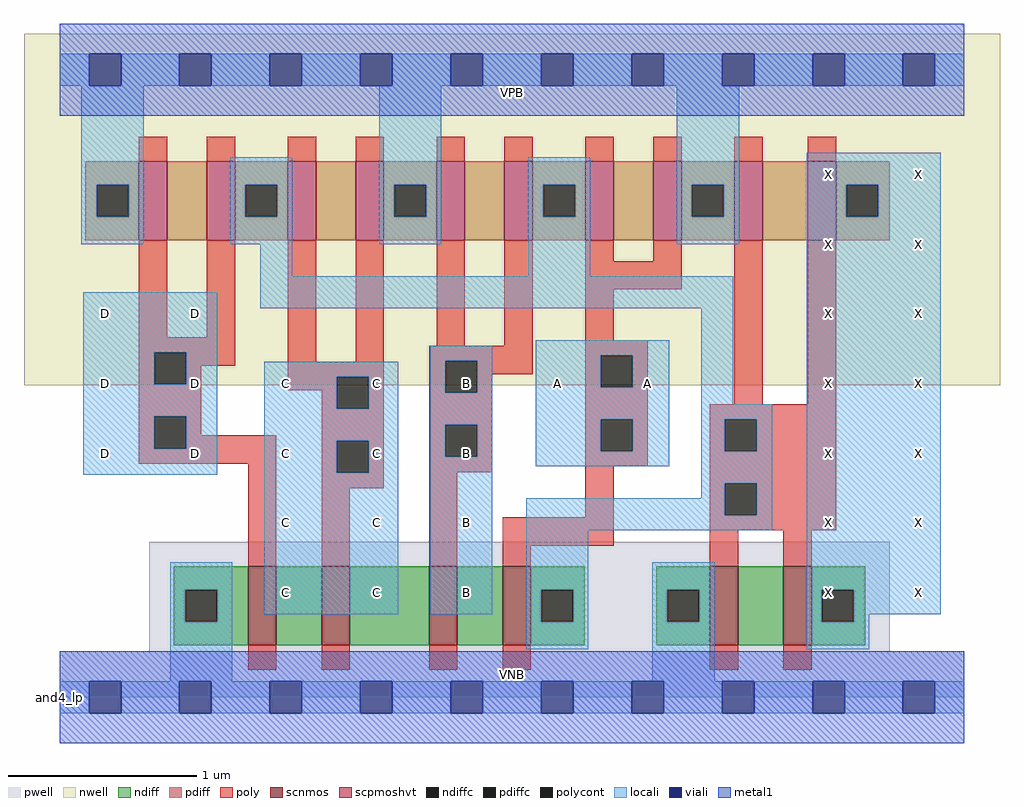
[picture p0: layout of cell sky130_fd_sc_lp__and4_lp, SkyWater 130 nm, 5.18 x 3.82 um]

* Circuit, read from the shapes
.subckt sky130_fd_sc_lp__and4_lp A B C D VGND VNB VPB VPWR X
XM1 n1 D VGND VNB sky130_fd_pr__nfet_01v8 w=0.42 l=0.15
XM2 n2 C n1 VNB sky130_fd_pr__nfet_01v8 w=0.42 l=0.15
XM3 n3 B n2 VNB sky130_fd_pr__nfet_01v8 w=0.42 l=0.15
XM4 n4 A n3 VNB sky130_fd_pr__nfet_01v8 w=0.42 l=0.15
XM5 n5 n4 VGND VNB sky130_fd_pr__nfet_01v8 w=0.42 l=0.15
XM6 X n4 n5 VNB sky130_fd_pr__nfet_01v8 w=0.42 l=0.15
XM7 n6 D VPWR VPB sky130_fd_pr__pfet_01v8_hvt w=0.42 l=0.15
XM8 n4 D n6 VPB sky130_fd_pr__pfet_01v8_hvt w=0.42 l=0.15
XM9 n7 C n4 VPB sky130_fd_pr__pfet_01v8_hvt w=0.42 l=0.15
XM10 VPWR C n7 VPB sky130_fd_pr__pfet_01v8_hvt w=0.42 l=0.15
XM11 n8 B VPWR VPB sky130_fd_pr__pfet_01v8_hvt w=0.42 l=0.15
XM12 n4 B n8 VPB sky130_fd_pr__pfet_01v8_hvt w=0.42 l=0.15
XM13 n9 A n4 VPB sky130_fd_pr__pfet_01v8_hvt w=0.42 l=0.15
XM14 VPWR A n9 VPB sky130_fd_pr__pfet_01v8_hvt w=0.42 l=0.15
XM15 n10 n4 VPWR VPB sky130_fd_pr__pfet_01v8_hvt w=0.42 l=0.15
XM16 X n4 n10 VPB sky130_fd_pr__pfet_01v8_hvt w=0.42 l=0.15
.ends

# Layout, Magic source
magic
tech sky130A
magscale 1 2
<< nwell >>
rect -38 331 998 704
<< pwell >>
rect 95 49 881 165
rect 0 0 960 49
<< scnmos >>
rect 200 55 230 139
rect 278 55 308 139
rect 392 55 422 139
rect 470 55 500 139
rect 690 55 720 139
rect 768 55 798 139
<< scpmoshvt >>
rect 84 485 114 569
rect 156 485 186 569
rect 242 485 272 569
rect 314 485 344 569
rect 400 485 430 569
rect 472 485 502 569
rect 558 485 588 569
rect 630 485 660 569
rect 716 485 746 569
rect 794 485 824 569
<< ndiff >>
rect 121 114 200 139
rect 121 80 133 114
rect 167 80 200 114
rect 121 55 200 80
rect 230 55 278 139
rect 308 55 392 139
rect 422 55 470 139
rect 500 114 557 139
rect 500 80 511 114
rect 545 80 557 114
rect 500 55 557 80
rect 633 114 690 139
rect 633 80 645 114
rect 679 80 690 114
rect 633 55 690 80
rect 720 55 768 139
rect 798 114 855 139
rect 798 80 809 114
rect 843 80 855 114
rect 798 55 855 80
<< pdiff >>
rect 27 544 84 569
rect 27 510 39 544
rect 73 510 84 544
rect 27 485 84 510
rect 114 485 156 569
rect 186 544 242 569
rect 186 510 197 544
rect 231 510 242 544
rect 186 485 242 510
rect 272 485 314 569
rect 344 544 400 569
rect 344 510 355 544
rect 389 510 400 544
rect 344 485 400 510
rect 430 485 472 569
rect 502 544 558 569
rect 502 510 513 544
rect 547 510 558 544
rect 502 485 558 510
rect 588 485 630 569
rect 660 544 716 569
rect 660 510 671 544
rect 705 510 716 544
rect 660 485 716 510
rect 746 485 794 569
rect 824 544 881 569
rect 824 510 835 544
rect 869 510 881 544
rect 824 485 881 510
<< ndiffc >>
rect 133 80 167 114
rect 511 80 545 114
rect 645 80 679 114
rect 809 80 843 114
<< pdiffc >>
rect 39 510 73 544
rect 197 510 231 544
rect 355 510 389 544
rect 513 510 547 544
rect 671 510 705 544
rect 835 510 869 544
<< poly >>
rect 84 569 114 595
rect 156 569 186 595
rect 242 569 272 595
rect 314 569 344 595
rect 400 569 430 595
rect 472 569 502 595
rect 558 569 588 595
rect 630 569 660 595
rect 716 569 746 595
rect 794 569 824 595
rect 84 382 114 485
rect 156 382 186 485
rect 84 366 186 382
rect 84 332 100 366
rect 134 352 186 366
rect 242 356 272 485
rect 314 356 344 485
rect 400 373 430 485
rect 472 373 502 485
rect 134 332 150 352
rect 84 298 150 332
rect 242 340 344 356
rect 242 326 294 340
rect 84 264 100 298
rect 134 278 150 298
rect 278 306 294 326
rect 328 306 344 340
rect 134 264 230 278
rect 84 248 230 264
rect 200 139 230 248
rect 278 272 344 306
rect 278 238 294 272
rect 328 238 344 272
rect 278 222 344 238
rect 392 357 502 373
rect 392 323 409 357
rect 443 343 502 357
rect 558 463 588 485
rect 630 463 660 485
rect 558 433 660 463
rect 558 379 588 433
rect 558 363 624 379
rect 443 323 459 343
rect 392 289 459 323
rect 392 255 409 289
rect 443 255 459 289
rect 392 239 459 255
rect 558 329 574 363
rect 608 329 624 363
rect 558 295 624 329
rect 716 311 746 485
rect 794 311 824 485
rect 558 261 574 295
rect 608 261 624 295
rect 558 245 624 261
rect 690 295 824 311
rect 690 261 706 295
rect 740 261 824 295
rect 278 139 308 222
rect 392 139 422 239
rect 558 191 588 245
rect 470 161 588 191
rect 690 227 824 261
rect 690 193 706 227
rect 740 193 824 227
rect 690 177 824 193
rect 470 139 500 161
rect 690 139 720 177
rect 768 139 798 177
rect 200 29 230 55
rect 278 29 308 55
rect 392 29 422 55
rect 470 29 500 55
rect 690 29 720 55
rect 768 29 798 55
<< polycont >>
rect 100 332 134 366
rect 100 264 134 298
rect 294 306 328 340
rect 294 238 328 272
rect 409 323 443 357
rect 409 255 443 289
rect 574 329 608 363
rect 574 261 608 295
rect 706 261 740 295
rect 706 193 740 227
<< locali >>
rect 0 649 31 683
rect 65 649 127 683
rect 161 649 223 683
rect 257 649 319 683
rect 353 649 415 683
rect 449 649 511 683
rect 545 649 607 683
rect 641 649 703 683
rect 737 649 799 683
rect 833 649 895 683
rect 929 649 960 683
rect 23 544 89 649
rect 23 510 39 544
rect 73 510 89 544
rect 23 481 89 510
rect 181 544 247 573
rect 181 510 197 544
rect 231 510 247 544
rect 181 481 247 510
rect 339 544 405 649
rect 339 510 355 544
rect 389 510 405 544
rect 339 481 405 510
rect 497 544 563 573
rect 497 510 513 544
rect 547 510 563 544
rect 213 447 247 481
rect 497 447 563 510
rect 655 544 721 649
rect 655 510 671 544
rect 705 510 721 544
rect 655 481 721 510
rect 793 544 935 578
rect 793 510 835 544
rect 869 510 935 544
rect 25 366 167 430
rect 213 413 715 447
rect 25 332 100 366
rect 134 332 167 366
rect 393 357 459 373
rect 25 298 167 332
rect 25 264 100 298
rect 134 264 167 298
rect 25 236 167 264
rect 217 340 359 356
rect 217 306 294 340
rect 328 306 359 340
rect 217 272 359 306
rect 217 238 294 272
rect 328 238 359 272
rect 117 114 183 143
rect 117 80 133 114
rect 167 80 183 114
rect 217 88 359 238
rect 393 323 409 357
rect 443 323 459 357
rect 393 289 459 323
rect 393 255 409 289
rect 443 255 459 289
rect 393 88 459 255
rect 505 363 647 379
rect 505 329 574 363
rect 608 329 647 363
rect 505 295 647 329
rect 505 261 574 295
rect 608 261 647 295
rect 505 245 647 261
rect 681 311 715 413
rect 681 295 756 311
rect 681 261 706 295
rect 740 261 756 295
rect 681 227 756 261
rect 681 211 706 227
rect 495 193 706 211
rect 740 193 756 227
rect 495 177 756 193
rect 495 114 561 177
rect 117 17 183 80
rect 495 80 511 114
rect 545 80 561 114
rect 495 51 561 80
rect 629 114 695 143
rect 629 80 645 114
rect 679 80 695 114
rect 629 17 695 80
rect 793 114 935 510
rect 793 80 809 114
rect 843 88 935 114
rect 843 80 859 88
rect 793 51 859 80
rect 0 -17 31 17
rect 65 -17 127 17
rect 161 -17 223 17
rect 257 -17 319 17
rect 353 -17 415 17
rect 449 -17 511 17
rect 545 -17 607 17
rect 641 -17 703 17
rect 737 -17 799 17
rect 833 -17 895 17
rect 929 -17 960 17
<< viali >>
rect 31 649 65 683
rect 127 649 161 683
rect 223 649 257 683
rect 319 649 353 683
rect 415 649 449 683
rect 511 649 545 683
rect 607 649 641 683
rect 703 649 737 683
rect 799 649 833 683
rect 895 649 929 683
rect 31 -17 65 17
rect 127 -17 161 17
rect 223 -17 257 17
rect 319 -17 353 17
rect 415 -17 449 17
rect 511 -17 545 17
rect 607 -17 641 17
rect 703 -17 737 17
rect 799 -17 833 17
rect 895 -17 929 17
<< metal1 >>
rect 0 683 960 715
rect 0 649 31 683
rect 65 649 127 683
rect 161 649 223 683
rect 257 649 319 683
rect 353 649 415 683
rect 449 649 511 683
rect 545 649 607 683
rect 641 649 703 683
rect 737 649 799 683
rect 833 649 895 683
rect 929 649 960 683
rect 0 617 960 649
rect 0 17 960 49
rect 0 -17 31 17
rect 65 -17 127 17
rect 161 -17 223 17
rect 257 -17 319 17
rect 353 -17 415 17
rect 449 -17 511 17
rect 545 -17 607 17
rect 641 -17 703 17
rect 737 -17 799 17
rect 833 -17 895 17
rect 929 -17 960 17
rect 0 -49 960 -17
<< labels >>
flabel pwell s 0 0 960 49 0 FreeSans 200 0 0 0 VNB
port 6 nsew ground bidirectional
flabel nwell s 0 617 960 666 0 FreeSans 200 0 0 0 VPB
port 7 nsew power bidirectional
rlabel comment s 0 0 0 0 4 and4_lp
flabel metal1 s 0 617 960 666 0 FreeSans 340 0 0 0 VPWR
port 8 nsew power bidirectional
flabel metal1 s 0 0 960 49 0 FreeSans 340 0 0 0 VGND
port 5 nsew ground bidirectional
flabel locali s 511 316 545 350 0 FreeSans 340 0 0 0 A
port 1 nsew signal input
flabel locali s 607 316 641 350 0 FreeSans 340 0 0 0 A
port 1 nsew signal input
flabel locali s 415 94 449 128 0 FreeSans 340 0 0 0 B
port 2 nsew signal input
flabel locali s 415 168 449 202 0 FreeSans 340 0 0 0 B
port 2 nsew signal input
flabel locali s 415 242 449 276 0 FreeSans 340 0 0 0 B
port 2 nsew signal input
flabel locali s 415 316 449 350 0 FreeSans 340 0 0 0 B
port 2 nsew signal input
flabel locali s 31 242 65 276 0 FreeSans 340 0 0 0 D
port 4 nsew signal input
flabel locali s 31 316 65 350 0 FreeSans 340 0 0 0 D
port 4 nsew signal input
flabel locali s 31 390 65 424 0 FreeSans 340 0 0 0 D
port 4 nsew signal input
flabel locali s 127 242 161 276 0 FreeSans 340 0 0 0 D
port 4 nsew signal input
flabel locali s 127 316 161 350 0 FreeSans 340 0 0 0 D
port 4 nsew signal input
flabel locali s 127 390 161 424 0 FreeSans 340 0 0 0 D
port 4 nsew signal input
flabel locali s 223 94 257 128 0 FreeSans 340 0 0 0 C
port 3 nsew signal input
flabel locali s 223 168 257 202 0 FreeSans 340 0 0 0 C
port 3 nsew signal input
flabel locali s 223 242 257 276 0 FreeSans 340 0 0 0 C
port 3 nsew signal input
flabel locali s 223 316 257 350 0 FreeSans 340 0 0 0 C
port 3 nsew signal input
flabel locali s 319 94 353 128 0 FreeSans 340 0 0 0 C
port 3 nsew signal input
flabel locali s 319 168 353 202 0 FreeSans 340 0 0 0 C
port 3 nsew signal input
flabel locali s 319 242 353 276 0 FreeSans 340 0 0 0 C
port 3 nsew signal input
flabel locali s 319 316 353 350 0 FreeSans 340 0 0 0 C
port 3 nsew signal input
flabel locali s 799 94 833 128 0 FreeSans 340 0 0 0 X
port 9 nsew signal output
flabel locali s 799 168 833 202 0 FreeSans 340 0 0 0 X
port 9 nsew signal output
flabel locali s 799 242 833 276 0 FreeSans 340 0 0 0 X
port 9 nsew signal output
flabel locali s 799 316 833 350 0 FreeSans 340 0 0 0 X
port 9 nsew signal output
flabel locali s 799 390 833 424 0 FreeSans 340 0 0 0 X
port 9 nsew signal output
flabel locali s 799 464 833 498 0 FreeSans 340 0 0 0 X
port 9 nsew signal output
flabel locali s 799 538 833 572 0 FreeSans 340 0 0 0 X
port 9 nsew signal output
flabel locali s 895 94 929 128 0 FreeSans 340 0 0 0 X
port 9 nsew signal output
flabel locali s 895 168 929 202 0 FreeSans 340 0 0 0 X
port 9 nsew signal output
flabel locali s 895 242 929 276 0 FreeSans 340 0 0 0 X
port 9 nsew signal output
flabel locali s 895 316 929 350 0 FreeSans 340 0 0 0 X
port 9 nsew signal output
flabel locali s 895 390 929 424 0 FreeSans 340 0 0 0 X
port 9 nsew signal output
flabel locali s 895 464 929 498 0 FreeSans 340 0 0 0 X
port 9 nsew signal output
flabel locali s 895 538 929 572 0 FreeSans 340 0 0 0 X
port 9 nsew signal output
<< properties >>
string LEFsite unit
string LEFclass CORE
string FIXED_BBOX 0 0 960 666
string GDS_FILE $PDKPATH/libs.ref/sky130_fd_sc_lp/gds/sky130_fd_sc_lp.gds
string LEFsymmetry X Y R90
string GDS_END 6295890
string GDS_START 6285784
<< end >>
